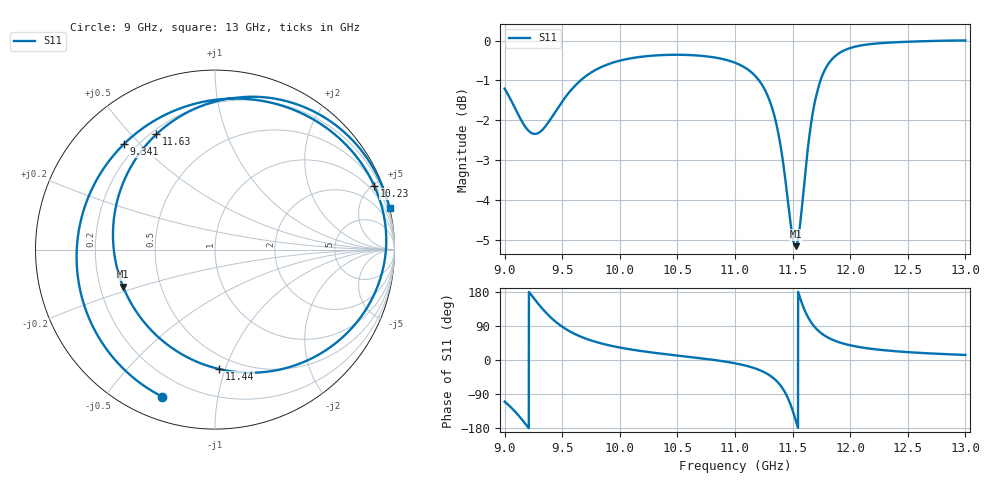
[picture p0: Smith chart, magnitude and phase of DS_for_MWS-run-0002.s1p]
! TOUCHSTONE file generated by CST DESIGN STUDIO
! Date and time: Tue Feb  4 14:18:21 2025
! Project name: C:\Work\MatlabApps\UnitCellOptimizationMatlab\CST\unitcell.cst
! Tree item: Tasks\Sweep1\SPara1\S-Parameters
! Header version: 2024
! Port assignment regex: !\s*Touchstone port\s*([0-9]+)\s*=\s*(CST MWS port|CST DES external port|CST DES block port)\s*(.+)\s* \(\"(.*)\"\)(\s*mode\s*([0-9]+))?.*
! Touchstone port assignment:
! Touchstone port 1 = CST DES external port 1 ("")
# GHz S MA R 50
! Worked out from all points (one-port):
!   4001 points, 9 GHz to 13 GHz, reference 50 ohm
!   lowest |S11| = -5.2 dB at 11.53 GHz (marker M1), VSWR 3.47, Z = 14.9 - j8.85 ohm
!   |S11| at or under -10 dB: nowhere
!   S11 on the Smith chart (normalised r, x): 9 GHz: 0.10, -0.70; 9.341 GHz: 0.15, +0.45; 10.23 GHz: 0.62, +5.11; 11.44 GHz: 0.40, -0.95; 11.63 GHz: 0.22, +0.59; 13 GHz: -0.01, +8.56
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9  0.8702 -109.8
9.085  0.8257 -134.3
9.184  0.778 -169.9
9.257  0.7638 161.6
9.341  0.7764 130.9
9.416  0.8039 108.1
9.5  0.8384 87.9
9.605  0.8757 69.3
9.717  0.9049 55.1
10  0.9436 32.9
10.229  0.9557 21.8
10.5  0.9597 11.8
11  0.9379 -8.7
11.164  0.9064 -21.1
11.277  0.857 -36.0
11.363  0.7814 -56.0
11.439  0.6659 -88.0
11.47  0.6102 -108.2
11.5  0.5668 -133.0
11.526  0.5524 -158.1
11.572  0.6003 157.3
11.627  0.7208 116.9
11.691  0.835 87.4
11.787  0.9228 62.7
11.88  0.9587 49.3
12  0.9786 38.8
12.5  0.9965 20.8
13  1 13.3
